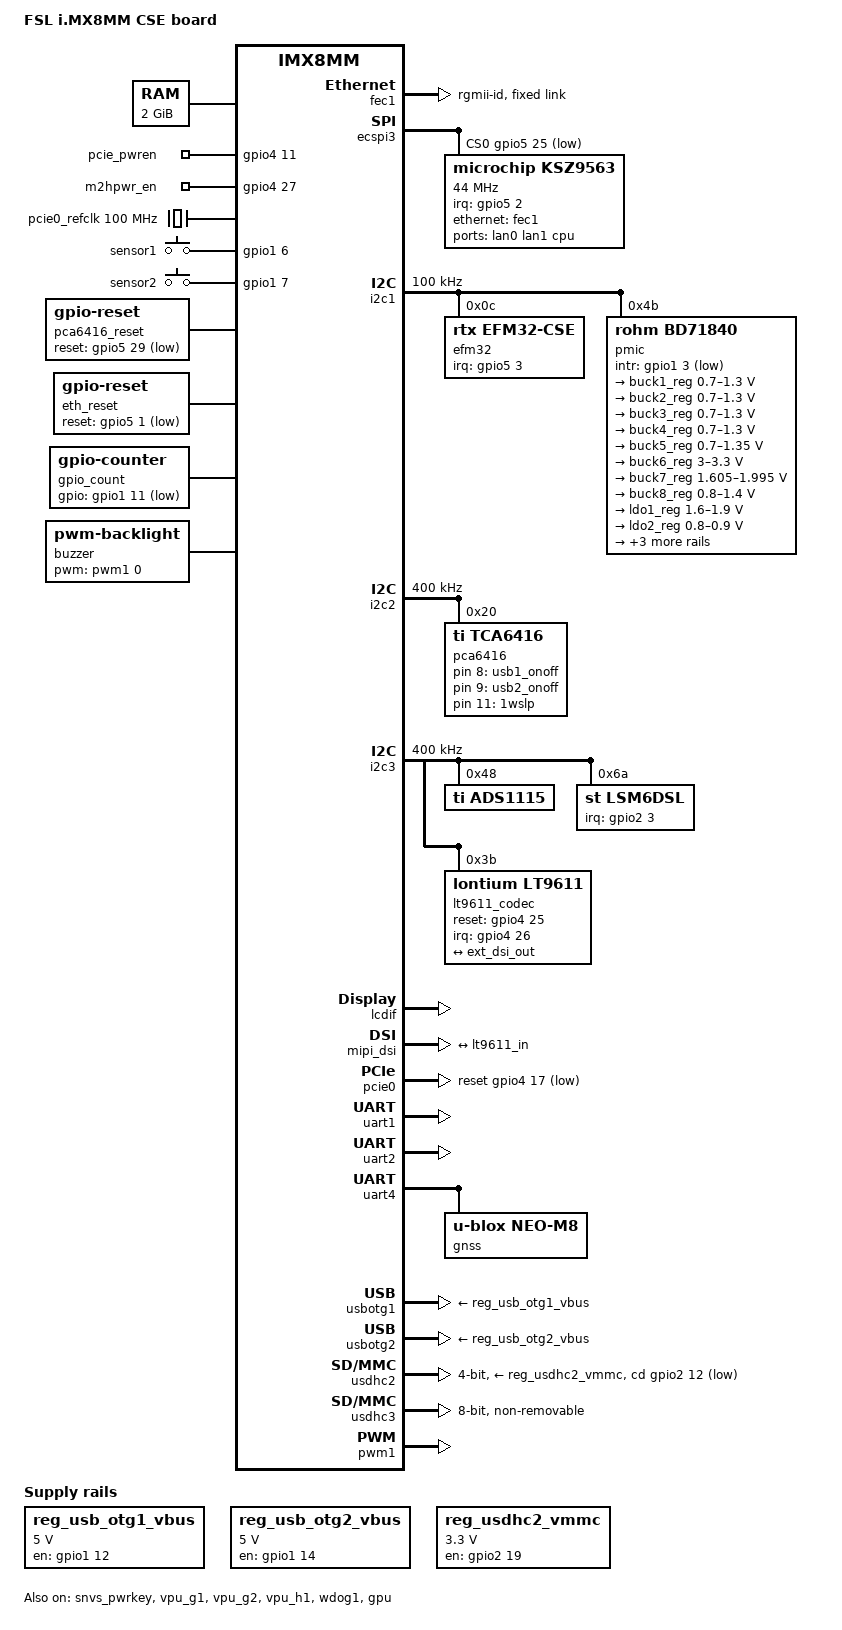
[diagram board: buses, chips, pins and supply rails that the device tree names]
// SPDX-License-Identifier: (GPL-2.0+ OR MIT)
/*
 * Copyright 2020 NXP
 */

/dts-v1/;

#include <dt-bindings/usb/pd.h>
#include "uni-imx8mm.dtsi"

/ {
	model = "FSL i.MX8MM CSE board";
	compatible = "fsl,imx8mm-evk", "fsl,imx8mm";
	
	chosen {
		bootargs = "console=ttymxc1,115200 earlycon=ec_imx6q,0x30890000,115200";
		stdout-path = &uart2;
	};

	memory@40000000 {
		device_type = "memory";
		reg = <0x0 0x40000000 0 0x80000000>;
	};

	leds {
		compatible = "gpio-leds";
		pinctrl-names = "default";
		pinctrl-0 = <&pinctrl_gpio_led>;

		usb1_onoff {
			label = "usb1_onoff";
			gpios = <&pca6416 8 GPIO_ACTIVE_HIGH>;
			default-state = "on";
		};

		usb2_onoff {
			label = "usb2_onoff";
			gpios = <&pca6416 9 GPIO_ACTIVE_HIGH>;
			default-state = "on";
		};

		1wslp {
			label = "1wslp";
			gpios = <&pca6416 11 GPIO_ACTIVE_HIGH>;
			default-state = "on";
		};

		pcie_pwren {
			label = "pcie_pwren";
			gpios = <&gpio4 11 GPIO_ACTIVE_HIGH>;
			default-state = "on";
		};
		
		m2hpwr_en {
			label = "m2hpwr_en";
			gpios = <&gpio4 27 GPIO_ACTIVE_HIGH>;
			default-state = "on";
		};
		
	};

	pcie0_refclk: pcie0-refclk {
		compatible = "fixed-clock";
		#clock-cells = <0>;
		clock-frequency = <100000000>;
	};

	wakeup_gpio1 {
		compatible = "gpio-keys";
		sensor1 {
			label = "sensor1";
			gpios = <&gpio1 6 GPIO_ACTIVE_HIGH>;
			linux,code = <KEY_POWER>;
			gpio-key,wakeup;
			linux,can-disable;
		};
	};

	wakeup_gpio2 {
		compatible = "gpio-keys";
		sensor2 {
			label = "sensor2";
			gpios = <&gpio1 7 GPIO_ACTIVE_HIGH>;
			linux,code = <KEY_POWER>;
			gpio-key,wakeup;
			linux,can-disable;
		};
	};

	pca6416_reset: pca6416-reset {
		compatible = "gpio-reset";
		reset-gpios = <&gpio5 29 GPIO_ACTIVE_LOW>;
		reset-delay-us = <2000>;
		reset-post-delay-ms = <40>;
		#reset-cells = <0>;
	};

	eth_reset: eth-reset {
		compatible = "gpio-reset";
		reset-gpios = <&gpio5 1 GPIO_ACTIVE_LOW>;
		reset-delay-us = <2000>;
		reset-post-delay-ms = <40>;
		#reset-cells = <0>;
	};

	regulators {
		compatible = "simple-bus";
		#address-cells = <1>;
		#size-cells = <0>;

		reg_usb_otg1_vbus: regulator@0 {
			compatible = "regulator-fixed";
			pinctrl-0 = <&pinctrl_usbotg1pwrgrp>;
			reg = <0>;
			regulator-name = "usb_otg1_vbus";
			regulator-min-microvolt = <5000000>;
			regulator-max-microvolt = <5000000>;
			gpio = <&gpio1 12 GPIO_ACTIVE_HIGH>;
			enable-active-high;
		};

		reg_usb_otg2_vbus: regulator@1 {
			compatible = "regulator-fixed";
			pinctrl-0 = <&pinctrl_usbotg2pwrgrp>;
			reg = <0>;
			regulator-name = "usb_otg2_vbus";
			regulator-min-microvolt = <5000000>;
			regulator-max-microvolt = <5000000>;
			gpio = <&gpio1 14 GPIO_ACTIVE_HIGH>;
			enable-active-high;
		};

		reg_usdhc2_vmmc: regulator-usdhc2 {
			compatible = "regulator-fixed";
			regulator-name = "VSD_3V3";
			regulator-min-microvolt = <3300000>;
			regulator-max-microvolt = <3300000>;
			gpio = <&gpio2 19 GPIO_ACTIVE_HIGH>;
			off-on-delay = <20000>;
			enable-active-high;
		};
	};

	gpio_count: counter {
		compatible = "gpio-counter";
		gpios = <&gpio1 11 GPIO_ACTIVE_LOW>;
		debounce-delay-us = <100>;
	};

	buzzer {
		compatible = "pwm-backlight";
		pwms = <&pwm1 0 366300>;
		brightness-levels = <0 128 255>;
		default-brightness-level = <0>;
	};
	
};

&A53_0 {
	cpu-supply = <&buck2_reg>;
};

&A53_1 {
	cpu-supply = <&buck2_reg>;
};

&A53_2 {
	cpu-supply = <&buck2_reg>;
};

&A53_3 {
	cpu-supply = <&buck2_reg>;
};

&fec1 {
	pinctrl-names = "default";
	pinctrl-0 = <&pinctrl_fec1>;
	phy-mode = "rgmii-id";
	fsl,magic-packet;
	status = "okay";

	fixed-link {
		speed = <1000>;
		full-duplex;
	};
};

&ecspi3	{
	#address-cells = <1>;
	#size-cells = <0>;
	fsl,spi-num-chipselects = <1>;
	pinctrl-names = "default";
	pinctrl-0 = <&pinctrl_ecspi3>;
	cs-gpios = <&gpio5 25 GPIO_ACTIVE_LOW>;
	status = "okay";

	ksz9563: ksz9563@0 {
		compatible = "microchip,ksz9563";
		reg = <0>;
		phy-mode = "rgmii-id";

		spi-max-frequency = <44000000>;
		spi-cpha;
		spi-cpol;
		interrupt-parent = <&gpio5>;
		interrupts = <2 IRQ_TYPE_LEVEL_LOW>;
		status = "okay";
		ports {
			#address-cells = <1>;
			#size-cells = <0>;
			port@0 {
				reg = <0>;
				label = "lan0";
			};
			port@1 {
				reg = <1>;
				label = "lan1";
			};
			port@2 {
				reg = <2>;
				label = "cpu";
				ethernet = <&fec1>;
				fixed-link {
					speed = <1000>;
					full-duplex;
				};
			};
		};
	};
};

&i2c1 {
	clock-frequency = <100000>;
	pinctrl-names = "default";
	pinctrl-0 = <&pinctrl_i2c1>;
	status = "okay";

	efm32: rtx-efm32@c {
		compatible = "rtx,efm32-cse";
		pinctrl-names = "default";
		pinctrl-0 = <&pinctrl_efm32>;
		reg = <0x0c>;
  		interrupt-parent = <&gpio5>;
  		interrupts = <3 IRQ_TYPE_EDGE_RISING>;
	};

	pmic: bd71837@4b {
		reg = <0x4b>;
		compatible = "rohm,bd71840", "rohm,bd71837";
		/* PMIC BD71837 PMIC_nINT GPIO1_IO3 */
		pinctrl-0 = <&pinctrl_pmic>;
		gpio_intr = <&gpio1 3 GPIO_ACTIVE_LOW>;

		gpo {
			rohm,drv = <0x0C>;	/* 0b0000_1100 all gpos with cmos output mode */
		};

		regulators {
			#address-cells = <1>;
			#size-cells = <0>;

			bd71837,pmic-buck2-uses-i2c-dvs;
			bd71837,pmic-buck2-dvs-voltage = <1000000>, <900000>, <0>; /* VDD_ARM: Run-Idle */

			buck1_reg: regulator@0 {
				reg = <0>;
				regulator-compatible = "buck1";
				regulator-min-microvolt = <700000>;
				regulator-max-microvolt = <1300000>;
				regulator-boot-on;
				regulator-always-on;
				regulator-ramp-delay = <1250>;
			};

			buck2_reg: regulator@1 {
				reg = <1>;
				regulator-compatible = "buck2";
				regulator-min-microvolt = <700000>;
				regulator-max-microvolt = <1300000>;
				regulator-boot-on;
				regulator-always-on;
				regulator-ramp-delay = <1250>;
			};

			buck3_reg: regulator@2 {
				reg = <2>;
				regulator-compatible = "buck3";
				regulator-min-microvolt = <700000>;
				regulator-max-microvolt = <1300000>;
			};

			buck4_reg: regulator@3 {
				reg = <3>;
				regulator-compatible = "buck4";
				regulator-min-microvolt = <700000>;
				regulator-max-microvolt = <1300000>;
			};

			buck5_reg: regulator@4 {
				reg = <4>;
				regulator-compatible = "buck5";
				regulator-min-microvolt = <700000>;
				regulator-max-microvolt = <1350000>;
				regulator-boot-on;
				regulator-always-on;
			};

			buck6_reg: regulator@5 {
				reg = <5>;
				regulator-compatible = "buck6";
				regulator-min-microvolt = <3000000>;
				regulator-max-microvolt = <3300000>;
				regulator-boot-on;
				regulator-always-on;
			};

			buck7_reg: regulator@6 {
				reg = <6>;
				regulator-compatible = "buck7";
				regulator-min-microvolt = <1605000>;
				regulator-max-microvolt = <1995000>;
				regulator-boot-on;
				regulator-always-on;
			};

			buck8_reg: regulator@7 {
				reg = <7>;
				regulator-compatible = "buck8";
				regulator-min-microvolt = <800000>;
				regulator-max-microvolt = <1400000>;
				regulator-boot-on;
				regulator-always-on;
			};

			ldo1_reg: regulator@8 {
				reg = <8>;
				regulator-compatible = "ldo1";
				regulator-min-microvolt = <1600000>;
				regulator-max-microvolt = <1900000>;
				regulator-boot-on;
				regulator-always-on;
			};

			ldo2_reg: regulator@9 {
				reg = <9>;
				regulator-compatible = "ldo2";
				regulator-min-microvolt = <800000>;
				regulator-max-microvolt = <900000>;
				regulator-boot-on;
				regulator-always-on;
			};

			ldo3_reg: regulator@10 {
				reg = <10>;
				regulator-compatible = "ldo3";
				regulator-min-microvolt = <1800000>;
				regulator-max-microvolt = <3300000>;
				regulator-boot-on;
				regulator-always-on;
			};

			ldo4_reg: regulator@11 {
				reg = <11>;
				regulator-compatible = "ldo4";
				regulator-min-microvolt = <900000>;
				regulator-max-microvolt = <1800000>;
				regulator-boot-on;
				regulator-always-on;
			};

			ldo6_reg: regulator@13 {
				reg = <13>;
				regulator-compatible = "ldo6";
				regulator-min-microvolt = <900000>;
				regulator-max-microvolt = <1800000>;
				regulator-boot-on;
				regulator-always-on;
			};
		};
	};
};

&i2c2 {
	clock-frequency = <400000>;
	pinctrl-names = "default";
	pinctrl-0 = <&pinctrl_i2c2>;
	status = "okay";

	pca6416: gpio@20 {
		compatible = "ti,tca6416";
		pinctrl-0 = <&pinctrl_pca6416>;
		reg = <0x20>;
		gpio-controller;
		#gpio-cells = <2>;
	};

};

&i2c3 {
	clock-frequency = <400000>;
	pinctrl-names = "default";
	pinctrl-0 = <&pinctrl_i2c3>;
	status = "okay";

	ads1115: ads1115@48 {
		compatible = "ti,ads1115";
		pinctrl-names = "default";
		pinctrl-0 = <&pinctrl_ads1115>;
		reg = <0x48>;
		#address-cells = <1>;
		#size-cells = <0>;

		channel@0 {
			reg = <0>;
			ti,gain = <2>;
			ti,datarate = <2>;
        };
		channel@1 {
			reg = <1>;
			ti,gain = <2>;
			ti,datarate = <2>;
		};                
		channel@2 {
			reg = <2>;
			ti,gain = <2>;
			ti,datarate = <2>;
		};     
		channel@3 {
			reg = <3>;
 			ti,gain = <2>;
			ti,datarate = <2>;
		};  
	};

  	lsm6dsl@6a {
  		compatible = "st,lsm6dsl";
		pinctrl-names = "default";
		pinctrl-0 = <&pinctrl_gyro>;
  		reg = <0x6a>;
  		interrupt-parent = <&gpio2>;
  		interrupts = <3 IRQ_TYPE_EDGE_RISING>;
 	};

	lt9611_codec: hdmi-bridge@3b {
		/* fixed output resolution add video=HDMI-A-1:1920x1080 in uboot bootargs parameter.*/
		compatible = "lontium,lt9611";
		reg = <0x3b>;
		#sound-dai-cells = <5>;	/*HDMI mode if enable audio.*/

		pinctrl-names = "default";
		pinctrl-0 = <&pinctrl_lt9611>;

		interrupts-extended = <&gpio4 26 IRQ_TYPE_EDGE_FALLING>;
		reset-gpios = <&gpio4 25 GPIO_ACTIVE_HIGH>;

		port{
			lt9611_in: endpoint {
				remote-endpoint = <&ext_dsi_out>;
			};
		};
		
		/*lt,hsync-active-h-polarity;
		lt,vsync-active-h-polarity;*/

		/*  used bellow modes if got EDID fail. */
		lt,customize-modes {
			customize-mode0 {
				lt,mode-h-active = <1920>;
				lt,mode-h-front-porch = <88>;
				lt,mode-h-pulse-width = <44>;
				lt,mode-h-back-porch = <148>;
				lt,mode-h-active-high;
				lt,mode-v-active = <1080>;
				lt,mode-v-front-porch = <4>;
				lt,mode-v-pulse-width = <5>;
				lt,mode-v-back-porch = <36>;
				lt,mode-v-active-high;
				lt,mode-clock-in-khz = <148500>;
			};
			customize-mode1 {
				lt,mode-h-active = <1280>;
				lt,mode-h-front-porch = <110>;
				lt,mode-h-pulse-width = <40>;
				lt,mode-h-back-porch = <220>;
				lt,mode-h-active-high;
				lt,mode-v-active = <720>;
				lt,mode-v-front-porch = <5>;
				lt,mode-v-pulse-width = <5>;
				lt,mode-v-back-porch = <20>;
				lt,mode-v-active-high;
				lt,mode-clock-in-khz = <74250>;
			};
			customize-mode2 {
				lt,mode-h-active = <800>;
				lt,mode-h-front-porch = <50>;
				lt,mode-h-pulse-width = <28>;
				lt,mode-h-back-porch = <50>;
				lt,mode-h-active-high;
				lt,mode-v-active = <480>;
				lt,mode-v-front-porch = <10>;
				lt,mode-v-pulse-width = <6>;
				lt,mode-v-back-porch = <29>;
				lt,mode-v-active-high;
				lt,mode-clock-in-khz = <32000>;
			};
		};

	};
	
};

&lcdif {
       status = "okay";
};

&mipi_dsi {
	status = "okay";

	port@1 {
		ext_dsi_out: endpoint {
			remote-endpoint = <&lt9611_in>;
			attach-bridge;
		};
	};
};

&pcie0{
	pinctrl-names = "default";
	pinctrl-0 = <&pinctrl_pcie0>;
	disable-gpio = <&gpio4 18 GPIO_ACTIVE_LOW>;
	reset-gpio = <&gpio4 17 GPIO_ACTIVE_LOW>;
	clocks = <&clk IMX8MM_CLK_PCIE1_ROOT>,
		 <&clk IMX8MM_CLK_PCIE1_AUX>,
		 <&clk IMX8MM_CLK_PCIE1_PHY>,
		 <&pcie0_refclk>;
	clock-names = "pcie", "pcie_aux", "pcie_phy", "pcie_bus";
	assigned-clocks = <&clk IMX8MM_CLK_PCIE1_AUX>,
			  <&clk IMX8MM_CLK_PCIE1_PHY>,
			  <&clk IMX8MM_CLK_PCIE1_CTRL>;
	assigned-clock-rates = <10000000>, <100000000>, <250000000>;
	assigned-clock-parents = <&clk IMX8MM_SYS_PLL2_50M>,
				 <&clk IMX8MM_SYS_PLL2_100M>,
				 <&clk IMX8MM_SYS_PLL2_250M>;
	ext_osc = <1>;
	status = "okay";
};

&sai5 {
	pinctrl-names = "default";
	pinctrl-0 = <&pinctrl_sai5>;
	clocks = <&clk IMX8MM_CLK_SAI5_IPG>, <&clk IMX8MM_CLK_DUMMY>,
		<&clk IMX8MM_CLK_SAI5_ROOT>, <&clk IMX8MM_CLK_DUMMY>,
		<&clk IMX8MM_CLK_DUMMY>, <&clk IMX8MM_AUDIO_PLL1_OUT>,
		<&clk IMX8MM_AUDIO_PLL2_OUT>;
	clock-names = "bus", "mclk0", "mclk1", "mclk2", "mclk3", "pll8k", "pll11k";
	fsl,sai-asynchronous;
	status = "okey";
};

&snvs_pwrkey {
	status = "okay";
};

&uart1 {
	pinctrl-names = "default","rs422";
	pinctrl-0 = <&pinctrl_uart1_rs232 &pinctrl_uart1_ctrl>;
	pinctrl-1 = <&pinctrl_uart1_rs422 &pinctrl_uart1_ctrl>;
/*    	fsl,dte-mode;	*/
	fsl,uart-has-rtscts;
	fsl,sp339e;
	fsl,sp339e-m0     = <&gpio4 4 0> ;
	fsl,sp339e-m1     = <&gpio4 5 0> ;
	fsl,sp339e-tm     = <&gpio4 10 0> ;
	fsl,sp339e-dir    = <&gpio4 24 0> ;
	status = "okay";
};

&uart2 { /* console */
	pinctrl-names = "default";
	pinctrl-0 = <&pinctrl_uart2>;
	status = "okay";
};

&uart4 {
	pinctrl-names = "default";
	pinctrl-0 = <&pinctrl_uart4_rs232>;
	status = "okay";
	/*resets = <&gnss_reset>;*/
	gnss {
		compatible = "u-blox,neo-m8";
		current-speed = <9600>;
	};
};

&usbotg1 {
	vbus-supply = <&reg_usb_otg1_vbus>;
	srp-disable;
	hnp-disable;
	adp-disable;
	power-polarity-active-high;
	disable-over-current;
	status = "okay";
};

&usbotg2 {
	vbus-supply = <&reg_usb_otg2_vbus>;
	srp-disable;
	hnp-disable;
	adp-disable;
	power-polarity-active-high;
	disable-over-current;
	status = "okay";
};

&usdhc2 {
	pinctrl-names = "default", "state_100mhz", "state_200mhz";
	pinctrl-0 = <&pinctrl_usdhc2>, <&pinctrl_usdhc2_gpio>;
	pinctrl-1 = <&pinctrl_usdhc2_100mhz>, <&pinctrl_usdhc2_gpio>;
	pinctrl-2 = <&pinctrl_usdhc2_200mhz>, <&pinctrl_usdhc2_gpio>;
	cd-gpios = <&gpio2 12 GPIO_ACTIVE_LOW>;
	bus-width = <4>;
	vmmc-supply = <&reg_usdhc2_vmmc>;
	status = "okay";
};

&usdhc3 {
	assigned-clocks = <&clk IMX8MM_CLK_USDHC3_ROOT>;
	assigned-clock-rates = <400000000>;
	pinctrl-names = "default", "state_100mhz", "state_200mhz";
	pinctrl-0 = <&pinctrl_usdhc3>, <&pinctrl_usdhc3_gpio>;
	pinctrl-1 = <&pinctrl_usdhc3_100mhz>, <&pinctrl_usdhc3_gpio>;
	pinctrl-2 = <&pinctrl_usdhc3_200mhz>, <&pinctrl_usdhc3_gpio>;
	bus-width = <8>;
	non-removable;
	status = "okay";
};

&vpu_g1 {
	status = "okay";
};

&vpu_g2 {
	status = "okay";
};

&vpu_h1 {
	status = "okay";
};

&pwm1 {
	pinctrl-names = "default";
	pinctrl-0 = <&pinctrl_buzzer_pwm1>;
	status = "okay";
};

&wdog1 {
	pinctrl-names = "default";
	pinctrl-0 = <&pinctrl_wdog>;
	fsl,ext-reset-output;
	status = "okay";
};

&gpu {
	status = "okay";
};

&ddrc {
	status = "disabled";
};

&iomuxc {
	pinctrl_fec1: fec1grp {
		fsl,pins = <
				MX8MM_IOMUXC_ENET_MDC_ENET1_MDC		0x3
				MX8MM_IOMUXC_ENET_MDIO_ENET1_MDIO	0x3
				MX8MM_IOMUXC_ENET_TD3_ENET1_RGMII_TD3	0x1f
				MX8MM_IOMUXC_ENET_TD2_ENET1_RGMII_TD2	0x1f
				MX8MM_IOMUXC_ENET_TD1_ENET1_RGMII_TD1	0x1f
				MX8MM_IOMUXC_ENET_TD0_ENET1_RGMII_TD0	0x1f
				MX8MM_IOMUXC_ENET_RD3_ENET1_RGMII_RD3	0x91
				MX8MM_IOMUXC_ENET_RD2_ENET1_RGMII_RD2	0x91
				MX8MM_IOMUXC_ENET_RD1_ENET1_RGMII_RD1	0x91
				MX8MM_IOMUXC_ENET_RD0_ENET1_RGMII_RD0	0x91
				MX8MM_IOMUXC_ENET_TXC_ENET1_RGMII_TXC	0x1f
				MX8MM_IOMUXC_ENET_RXC_ENET1_RGMII_RXC	0x91
				MX8MM_IOMUXC_ENET_RX_CTL_ENET1_RGMII_RX_CTL	0x91
				MX8MM_IOMUXC_ENET_TX_CTL_ENET1_RGMII_TX_CTL	0x1f
				
				MX8MM_IOMUXC_SAI3_MCLK_GPIO5_IO2	0x19		/* KSZ9563 INTR_N */
				MX8MM_IOMUXC_SAI3_TXD_GPIO5_IO1		0x19	/* KSZ9563 RST_N */
				
				MX8MM_IOMUXC_SD1_CLK_GPIO2_IO0		0x19		/* KSZ9563 EGPIO_1 */
				MX8MM_IOMUXC_SD1_CMD_GPIO2_IO1 		0x19	/* KSZ9563 EGPIO_2 */
		>;
	};

	pinctrl_ecspi3: ecspi3grp {
		fsl,pins = <
			MX8MM_IOMUXC_UART1_RXD_ECSPI3_SCLK		0x82	/* KSZ9563 SPI SCLK */
			MX8MM_IOMUXC_UART1_TXD_ECSPI3_MOSI		0x82	/* KSZ9563 SPI MOSI */
			MX8MM_IOMUXC_UART2_RXD_ECSPI3_MISO 		0x82	/* KSZ9563 SPI MISO */
			MX8MM_IOMUXC_UART2_TXD_GPIO5_IO25			0x19	/* KSZ9563 SPI CS */
		>;
	};

	pinctrl_gpio_led: gpioledgrp {
		fsl,pins = <
				MX8MM_IOMUXC_SAI1_RXD0_GPIO4_IO2	0x19	/* GPIO CN4 Pin7 */
				MX8MM_IOMUXC_SAI1_RXD1_GPIO4_IO3	0x19	/* GPIO CN4 Pin8 */
					
				MX8MM_IOMUXC_SD1_DATA4_GPIO2_IO6	0x19	/*  DIP SW1 */
				MX8MM_IOMUXC_SD1_DATA5_GPIO2_IO7	0x19	/*  DIP SW2 */
				MX8MM_IOMUXC_SD1_DATA6_GPIO2_IO8	0x19	/*  DIP SW3 */
				MX8MM_IOMUXC_SD1_DATA7_GPIO2_IO9	0x19	/*  DIP SW4 */
				
				MX8MM_IOMUXC_GPIO1_IO06_GPIO1_IO6	0x19	/*  CN16 Pin4 SED1 */
				MX8MM_IOMUXC_GPIO1_IO07_GPIO1_IO7	0x19	/*  CN16 Pin6 SED2 */
				MX8MM_IOMUXC_GPIO1_IO08_GPIO1_IO8	0x19	/*  CN16 Pin8 SED3 */
				MX8MM_IOMUXC_GPIO1_IO09_GPIO1_IO9	0x19	/*  CN16 Pin10 SED4 */
				MX8MM_IOMUXC_GPIO1_IO11_GPIO1_IO11	0x19	/*  CN16 Pin12 S_PULSE */
		>;
	};

	pinctrl_i2c1: i2c1grp {
		fsl,pins = <
			MX8MM_IOMUXC_I2C1_SCL_I2C1_SCL			0x400001c3
			MX8MM_IOMUXC_I2C1_SDA_I2C1_SDA			0x400001c3
		>;
	};

	pinctrl_i2c2: i2c2grp {
		fsl,pins = <
			MX8MM_IOMUXC_I2C2_SCL_I2C2_SCL			0x400001c3
			MX8MM_IOMUXC_I2C2_SDA_I2C2_SDA			0x400001c3
		>;
	};

	pinctrl_i2c3: i2c3grp {
		fsl,pins = <
			MX8MM_IOMUXC_I2C3_SCL_I2C3_SCL			0x400001c3
			MX8MM_IOMUXC_I2C3_SDA_I2C3_SDA			0x400001c3
		>;
	};

	pinctrl_pcie0: pcie0grp {
		fsl,pins = <
			MX8MM_IOMUXC_I2C4_SCL_PCIE1_CLKREQ_B	0x61 /* open drain, pull up */
			MX8MM_IOMUXC_SAI1_TXC_GPIO4_IO11	0x19		/* PWR_EN */
			MX8MM_IOMUXC_SAI1_TXD4_GPIO4_IO16	0x41 	/* PCIE Pin1 WAKE# */
			MX8MM_IOMUXC_SAI1_TXD5_GPIO4_IO17	0x41 	/* PCIE Pin22 PERST# */
			MX8MM_IOMUXC_SAI1_TXD6_GPIO4_IO18	0x41 	/* PCIE Pin20 W_Disable# */
			MX8MM_IOMUXC_SAI1_TXD7_GPIO4_IO19	0x41 	/* PCIE Pin7 CLKREQ# */
		>;
	};

	pinctrl_pmic: pmicirqgrp {
		fsl,pins = <
			MX8MM_IOMUXC_GPIO1_IO03_GPIO1_IO3		0x141		/* BD71847 Pin39 IRQ */
		>;
	};

	pinctrl_buzzer_pwm1: buzzerpwm1grp {
		fsl,pins = <
			MX8MM_IOMUXC_SPDIF_EXT_CLK_PWM1_OUT	0x16	/* Buzzer pwm */
		>;
	};

	pinctrl_uart1_rs232: uart1grp1 {
		fsl,pins = <
			MX8MM_IOMUXC_SAI2_RXFS_UART1_DCE_TX	0x140		/* SP339 RXD => CN16 Pin11 */
			MX8MM_IOMUXC_SAI2_RXC_UART1_DCE_RX	0x140		/* SP339 TXD => CN16 Pin9 */
			MX8MM_IOMUXC_SAI2_TXFS_UART1_DCE_CTS_B	0x140		/* SP339 RTS => CN6 remove */
			MX8MM_IOMUXC_SAI2_RXD0_UART1_DCE_RTS_B 0x140		/* SP339 CTS => CN6 remove */
		>;
	};

	pinctrl_uart1_rs422: uart1grp2 {
		fsl,pins = <
			MX8MM_IOMUXC_SAI2_RXFS_UART1_DCE_TX	0x140
			MX8MM_IOMUXC_SAI2_RXC_UART1_DCE_RX	0x140
			MX8MM_IOMUXC_SAI2_TXFS_GPIO4_IO24		0x19
			MX8MM_IOMUXC_SAI2_RXD0_UART1_DCE_RTS_B	0x140
		>;
	};

	pinctrl_uart1_ctrl: uart1-ctrlgrp2 {
		fsl,pins = <
			MX8MM_IOMUXC_SAI1_RXD2_GPIO4_IO4	0x19	/* UART1_M0 */
			MX8MM_IOMUXC_SAI1_RXD3_GPIO4_IO5	0x19	/* UART1_M1 */
			MX8MM_IOMUXC_SAI1_TXFS_GPIO4_IO10	0x19	/* UART1_TM */
		>;
	};

	pinctrl_uart2: uart2grp {		/* Debug port */
		fsl,pins = <
			MX8MM_IOMUXC_SAI3_TXC_UART2_DCE_TX	0x140			
			MX8MM_IOMUXC_SAI3_TXFS_UART2_DCE_RX	0x140
			MX8MM_IOMUXC_SAI3_RXC_UART2_DCE_RTS_B	0x140
			MX8MM_IOMUXC_SAI3_RXD_UART2_DCE_CTS_B	0x140
		>;
	};

	pinctrl_uart4_rs232: uart4grp1 {		/* UBLOX NEO-M8U */
		fsl,pins = <
			MX8MM_IOMUXC_ECSPI2_SCLK_UART4_DCE_RX		0x140
			MX8MM_IOMUXC_ECSPI2_MOSI_UART4_DCE_TX		0x140
			MX8MM_IOMUXC_ECSPI2_MISO_UART4_DCE_CTS_B	0x140
			MX8MM_IOMUXC_ECSPI2_SS0_UART4_DCE_RTS_B		0x140
		>;
	};
	
	pinctrl_usbotg1pwrgrp: usbotg1pwrgrp {
			fsl,pins = <
					MX8MM_IOMUXC_GPIO1_IO12_GPIO1_IO12      	0x00	/* SOC  USB1_VBUS Enable. */
			>;
	};

	pinctrl_usbotg2pwrgrp: usbotg2pwrgrp {
			fsl,pins = <
					MX8MM_IOMUXC_GPIO1_IO14_GPIO1_IO14      	0x00	/* SOC  USB2_VBUS Enable. */
			>;
	};

	pinctrl_wdog: wdoggrp {
		fsl,pins = <
			MX8MM_IOMUXC_GPIO1_IO02_WDOG1_WDOG_B		0xc6		/* SOC watchdog physic pin to pmic. */
		>;
	};

	pinctrl_efm32: efm32 {
		fsl,pins = <
			MX8MM_IOMUXC_SPDIF_TX_GPIO5_IO3		0x19	/* IGN from MCU */
		>;
	};

	pinctrl_lt9611: lt9611 {
		fsl,pins = <
			MX8MM_IOMUXC_SAI2_MCLK_GPIO4_IO27		0x19	/* LT9611 Enable 1V8 */
			MX8MM_IOMUXC_SAI2_TXD0_GPIO4_IO26		0x19	/* LT9611 INT_ATST_GPIO3 */
			MX8MM_IOMUXC_SAI2_TXC_GPIO4_IO25		0x19		/* LT9611 RSTN */
		>;
	};

	pinctrl_sai5: sai5grp {
		fsl,pins = <
			MX8MM_IOMUXC_SAI5_MCLK_SAI5_MCLK	0xd6				/* LT9611 SSI MCLK */
			MX8MM_IOMUXC_SAI5_RXC_SAI5_RX_BCLK	0xd6			/* LT9611 SSI SCLK */
			MX8MM_IOMUXC_SAI5_RXFS_SAI5_RX_SYNC	0xd6		/* LT9611 SSI WS */
			MX8MM_IOMUXC_SAI5_RXD0_SAI5_RX_DATA0	0xd6		/* LT9611 SSI D0 */
			MX8MM_IOMUXC_SAI5_RXD1_SAI5_RX_DATA1    0xd6		/* LT9611 SSI D1 */
			MX8MM_IOMUXC_SAI5_RXD2_SAI5_RX_DATA2    0xd6		/* LT9611 SSI D2 */
			MX8MM_IOMUXC_SAI5_RXD3_SAI5_RX_DATA3    0xd6		/* LT9611 SSI D3 */
		>;
	};

	pinctrl_gyro: gyro {
		fsl,pins = <
			MX8MM_IOMUXC_SD1_DATA1_GPIO2_IO3		0x19		/* LSM6DSLTR INT1 */
		>;
	};

	pinctrl_ads1115: ads1115 {
		fsl,pins = <
			MX8MM_IOMUXC_SD1_DATA0_GPIO2_IO2		0x19	/* ADS1115 RDY */
		>;
	};

	pinctrl_pca6416: pca6416 {
		fsl,pins = <
			MX8MM_IOMUXC_UART4_RXD_GPIO5_IO28		0x19	/* PCA6416 INT */
			MX8MM_IOMUXC_UART4_TXD_GPIO5_IO29		0x19	/* PCA6416 RESET */
		>;
	};

	pinctrl_usdhc2_gpio: usdhc2grpgpio {
		fsl,pins = <
			MX8MM_IOMUXC_SD2_CD_B_GPIO2_IO12	0x1c4
			MX8MM_IOMUXC_SD2_RESET_B_GPIO2_IO19	0x41
		>;
	};

	pinctrl_usdhc2: usdhc2grp {
		fsl,pins = <
			MX8MM_IOMUXC_SD2_CLK_USDHC2_CLK		0x190
			MX8MM_IOMUXC_SD2_CMD_USDHC2_CMD		0x1d0
			MX8MM_IOMUXC_SD2_DATA0_USDHC2_DATA0	0x1d0
			MX8MM_IOMUXC_SD2_DATA1_USDHC2_DATA1	0x1d0
			MX8MM_IOMUXC_SD2_DATA2_USDHC2_DATA2	0x1d0
			MX8MM_IOMUXC_SD2_DATA3_USDHC2_DATA3	0x1d0
		>;
	};

	pinctrl_usdhc2_100mhz: usdhc2-100mhzgrp {
		fsl,pins = <
			MX8MM_IOMUXC_SD2_CLK_USDHC2_CLK		0x194
			MX8MM_IOMUXC_SD2_CMD_USDHC2_CMD		0x1d4
			MX8MM_IOMUXC_SD2_DATA0_USDHC2_DATA0	0x1d4
			MX8MM_IOMUXC_SD2_DATA1_USDHC2_DATA1	0x1d4
			MX8MM_IOMUXC_SD2_DATA2_USDHC2_DATA2	0x1d4
			MX8MM_IOMUXC_SD2_DATA3_USDHC2_DATA3	0x1d4
		>;
	};

	pinctrl_usdhc2_200mhz: usdhc2-200mhzgrp {
		fsl,pins = <
			MX8MM_IOMUXC_SD2_CLK_USDHC2_CLK		0x196
			MX8MM_IOMUXC_SD2_CMD_USDHC2_CMD		0x1d6
			MX8MM_IOMUXC_SD2_DATA0_USDHC2_DATA0	0x1d6
			MX8MM_IOMUXC_SD2_DATA1_USDHC2_DATA1	0x1d6
			MX8MM_IOMUXC_SD2_DATA2_USDHC2_DATA2	0x1d6
			MX8MM_IOMUXC_SD2_DATA3_USDHC2_DATA3	0x1d6
		>;
	};

	pinctrl_usdhc3_gpio: usdhc3grpgpio {
		fsl,pins = <
			MX8MM_IOMUXC_NAND_READY_B_GPIO3_IO16	0x41	/* eMMC Reset_N */
		>;
	};

	pinctrl_usdhc3: usdhc3grp {
		fsl,pins = <
			MX8MM_IOMUXC_NAND_WE_B_USDHC3_CLK               0x190
			MX8MM_IOMUXC_NAND_WP_B_USDHC3_CMD               0x1d0
			MX8MM_IOMUXC_NAND_DATA04_USDHC3_DATA0           0x1d0
			MX8MM_IOMUXC_NAND_DATA05_USDHC3_DATA1           0x1d0
			MX8MM_IOMUXC_NAND_DATA06_USDHC3_DATA2           0x1d0
			MX8MM_IOMUXC_NAND_DATA06_USDHC3_DATA2           0x1d0
			MX8MM_IOMUXC_NAND_DATA07_USDHC3_DATA3           0x1d0
			MX8MM_IOMUXC_NAND_RE_B_USDHC3_DATA4             0x1d0
			MX8MM_IOMUXC_NAND_CE2_B_USDHC3_DATA5            0x1d0
			MX8MM_IOMUXC_NAND_CE3_B_USDHC3_DATA6            0x1d0
			MX8MM_IOMUXC_NAND_CLE_USDHC3_DATA7              0x1d0
			MX8MM_IOMUXC_NAND_CE1_B_USDHC3_STROBE           0x190
		>;
	};

	pinctrl_usdhc3_100mhz: usdhc3-100mhzgrp {
		fsl,pins = <
			MX8MM_IOMUXC_NAND_WE_B_USDHC3_CLK               0x194
			MX8MM_IOMUXC_NAND_WP_B_USDHC3_CMD               0x1d4
			MX8MM_IOMUXC_NAND_DATA04_USDHC3_DATA0           0x1d4
			MX8MM_IOMUXC_NAND_DATA05_USDHC3_DATA1           0x1d4
			MX8MM_IOMUXC_NAND_DATA06_USDHC3_DATA2           0x1d4
			MX8MM_IOMUXC_NAND_DATA07_USDHC3_DATA3           0x1d4
			MX8MM_IOMUXC_NAND_RE_B_USDHC3_DATA4             0x1d4
			MX8MM_IOMUXC_NAND_CE2_B_USDHC3_DATA5            0x1d4
			MX8MM_IOMUXC_NAND_CE3_B_USDHC3_DATA6            0x1d4
			MX8MM_IOMUXC_NAND_CLE_USDHC3_DATA7              0x1d4
			MX8MM_IOMUXC_NAND_CE1_B_USDHC3_STROBE           0x194
		>;
	};

	pinctrl_usdhc3_200mhz: usdhc3-200mhzgrp {
		fsl,pins = <
			MX8MM_IOMUXC_NAND_WE_B_USDHC3_CLK               0x196
			MX8MM_IOMUXC_NAND_WP_B_USDHC3_CMD               0x1d6
			MX8MM_IOMUXC_NAND_DATA04_USDHC3_DATA0           0x1d6
			MX8MM_IOMUXC_NAND_DATA05_USDHC3_DATA1           0x1d6
			MX8MM_IOMUXC_NAND_DATA06_USDHC3_DATA2           0x1d6
			MX8MM_IOMUXC_NAND_DATA07_USDHC3_DATA3           0x1d6
			MX8MM_IOMUXC_NAND_RE_B_USDHC3_DATA4             0x1d6
			MX8MM_IOMUXC_NAND_CE2_B_USDHC3_DATA5            0x1d6
			MX8MM_IOMUXC_NAND_CE3_B_USDHC3_DATA6            0x1d6
			MX8MM_IOMUXC_NAND_CLE_USDHC3_DATA7              0x1d6
			MX8MM_IOMUXC_NAND_CE1_B_USDHC3_STROBE           0x196
		>;
	};
	
};


